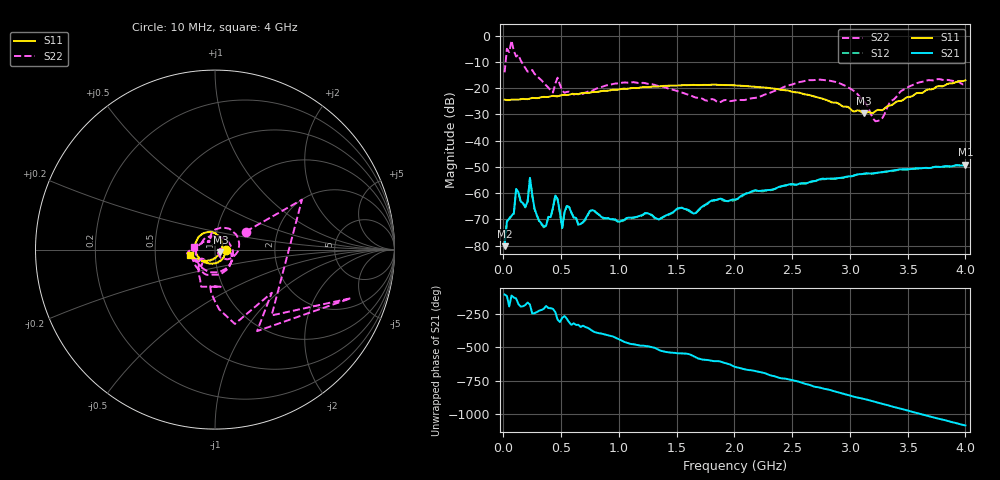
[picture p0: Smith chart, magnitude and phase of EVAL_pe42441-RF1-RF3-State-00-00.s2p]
! 9/28/2016 2:47:37 PM
! C:\USERS\ANRITSUUSER\DESKTOP\SWITCHES\EVAL_PE42441-RF1-RF3-STATE-00-00.S2P
! CHANNEL.1
! TR.MEASUREMENT
! CORRECTED.DATA
# GHZ S RI R 50.0
! FREQ.GHZ  S11RE  S11IM  S21RE  S21IM  S12RE  S12IM  S22RE  S22IM
!; PortSelection: Port_12
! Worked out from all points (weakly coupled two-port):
!   201 points, 10 MHz to 4 GHz, reference 50 ohm
!   highest |S21| = -49.23 dB at 4 GHz (marker M1); lowest = -80.2 dB at 10 MHz (marker M2)
!   lowest |S11| = -29.7 dB at 3.122 GHz (marker M3), VSWR 1.07, Z = 53.1 - j1.33 ohm
!   |S11| at or under -10 dB: start of sweep to end of sweep
!   |S22| runs from -32.7 to -1.9 dB; largest |S21 - S12| = 9.9e-05
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0.01  0.06 -0.00345  -2.93e-05 -9.27e-05  -4.44e-05 -0.000103  0.1712 0.1003
0.02995  0.0587 -0.00484  -0.000135 -0.000255  -0.000127 -0.000257  0.4846 0.2782
0.0499  0.0583 -0.00847  -0.000312 9.25e-05  -0.000311 9.7e-05  0.3156 -0.3666
0.06985  0.0588 -0.0118  -0.000155 -0.000334  -0.000157 -0.000335  0.7586 -0.2705
0.0898  0.0583 -0.0146  -0.000264 -0.000321  -0.000255 -0.000308  0.2343 -0.4542
0.10975  0.0572 -0.0176  -0.00087 -0.00082  -0.000861 -0.000795  0.3165 -0.2404
0.18955  0.0534 -0.0304  -0.000543 4.66e-05  -0.000529 4.89e-05  -0.0218 -0.2387
0.22945  0.0498 -0.0383  -0.00194 7.67e-05  -0.00192 7.45e-05  0.0319 -0.207
0.26935  0.0481 -0.0432  -0.000201 0.000456  -0.000198 0.000454  -0.0832 -0.1665
0.34915  0.0401 -0.0547  -0.000189 0.000128  -0.000182 0.000128  -0.0906 -0.087
0.4489  0.0272 -0.0644  -0.000472 0.000763  -0.000463 0.000759  -0.0768 -0.094
0.50875  0.0168 -0.0719  4.18e-05 0.000212  5.3e-05 0.000209  -0.083 0.0327
0.54865  0.0113 -0.0725  0.000172 0.000542  0.000167 0.000532  -0.0683 0.0494
0.6883  -0.014 -0.0795  0.000259 9.77e-05  0.000257 0.000104  0.0436 0.0639
1.34665  -0.1056 -0.0139  -0.000295 -0.000106  -0.000298 -0.000103  -0.1057 -0.0237
2.005  -0.0699 0.0876  0.000207 0.000722  0.000183 0.000719  -0.0288 0.0507
2.6833  0.0306 0.0629  0.00055 -0.00159  0.000584 -0.00156  0.0991 0.1008
3.1222  0.0303 -0.0125  -0.00226 -0.000597  -0.00225 -0.000596  0.0318 -0.0455
3.22195  0.0199 -0.0307  -0.00238 0.000326  -0.00237 0.000317  0.0178 -0.015
3.34165  0.00355 -0.046  -0.00214 0.00152  -0.00209 0.00148  0.0505 0.00811
3.66085  -0.0657 -0.0633  0.000962 0.00287  0.000882 0.00285  0.036 -0.1339
4  -0.1371 -0.0289  0.00345 -0.000134  0.00339 -9.56e-05  -0.116 0.0146
